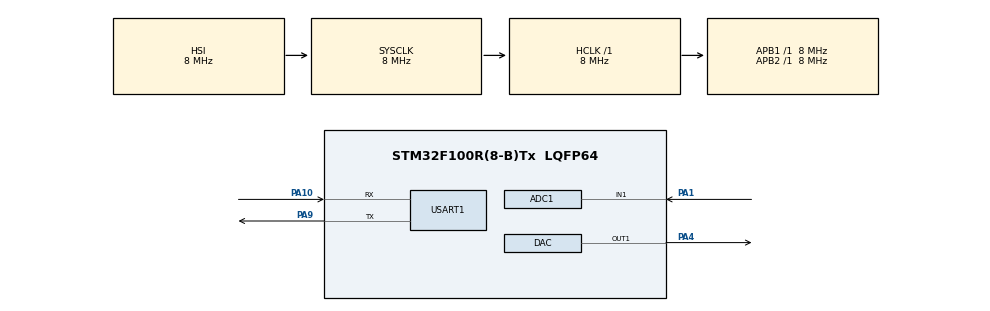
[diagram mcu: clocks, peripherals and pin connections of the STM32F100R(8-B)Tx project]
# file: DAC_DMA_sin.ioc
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ADC1.Channel-1\#ChannelRegularConversion=ADC_CHANNEL_1
ADC1.ContinuousConvMode=ENABLE
ADC1.ExternalTrigConv=ADC_SOFTWARE_START
ADC1.NbrOfConversionFlag=1
ADC1.Rank-1\#ChannelRegularConversion=1
ADC1.SamplingTime-1\#ChannelRegularConversion=ADC_SAMPLETIME_1CYCLE_5
ADC1.master=1
DAC.DAC_Trigger=DAC_TRIGGER_T3_TRGO
Dma.ADC1.1.Direction=DMA_PERIPH_TO_MEMORY
Dma.ADC1.1.Instance=DMA1_Channel1
Dma.ADC1.1.MemDataAlignment=DMA_MDATAALIGN_WORD
Dma.ADC1.1.MemInc=DMA_MINC_ENABLE
Dma.ADC1.1.Mode=DMA_CIRCULAR
Dma.ADC1.1.PeriphDataAlignment=DMA_PDATAALIGN_WORD
Dma.ADC1.1.PeriphInc=DMA_PINC_DISABLE
Dma.ADC1.1.Priority=DMA_PRIORITY_LOW
Dma.DAC_CH1.0.Direction=DMA_MEMORY_TO_PERIPH
Dma.DAC_CH1.0.Instance=DMA1_Channel3
Dma.DAC_CH1.0.MemDataAlignment=DMA_MDATAALIGN_WORD
Dma.DAC_CH1.0.MemInc=DMA_MINC_ENABLE
Dma.DAC_CH1.0.Mode=DMA_CIRCULAR
Dma.DAC_CH1.0.PeriphDataAlignment=DMA_PDATAALIGN_WORD
Dma.DAC_CH1.0.PeriphInc=DMA_PINC_DISABLE
Dma.DAC_CH1.0.Priority=DMA_PRIORITY_LOW
Dma.Request0=DAC_CH1
Dma.Request1=ADC1
Mcu.Family=STM32F1
Mcu.Name=STM32F100R(8-B)Tx
Mcu.Package=LQFP64
NVIC.DMA1_Channel1_IRQn=true\:0\:0\:false\:false\:true\:false\:true
NVIC.DMA1_Channel3_IRQn=true\:0\:0\:false\:false\:true\:false\:true
NVIC.PriorityGroup=NVIC_PRIORITYGROUP_4
PA1.Signal=ADCx_IN1
PA10.Mode=Asynchronous
PA10.Signal=USART1_RX
PA13.Mode=Serial_Wire
PA13.Signal=SYS_JTMS-SWDIO
PA14.Mode=Serial_Wire
PA14.Signal=SYS_JTCK-SWCLK
PA4.Signal=COMP_DAC1_group
PA9.Mode=Asynchronous
PA9.Signal=USART1_TX
PD0-OSC_IN.Mode=HSE-External-Oscillator
PD0-OSC_IN.Signal=RCC_OSC_IN
PD1-OSC_OUT.Mode=HSE-External-Oscillator
PD1-OSC_OUT.Signal=RCC_OSC_OUT
ProjectManager.HeapSize=0x200
ProjectManager.StackSize=0x400
ProjectManager.TargetToolchain=MDK-ARM V5.27
RCC.AHBFreq_Value=8000000
RCC.APB1Freq_Value=8000000
RCC.APB1TimFreq_Value=8000000
RCC.APB2Freq_Value=8000000
RCC.APB2TimFreq_Value=8000000
RCC.HCLKFreq_Value=8000000
RCC.PLLMUL=RCC_PLL_MUL4
RCC.SYSCLKFreq_VALUE=8000000
SH.ADCx_IN1.0=ADC1_IN1,IN1
SH.COMP_DAC1_group.0=DAC_OUT1,DAC_OUT1
TIM3.Period=79
TIM3.TIM_MasterOutputTrigger=TIM_TRGO_UPDATE
USART1.VirtualMode=VM_ASYNC
VP_TIM3_VS_ClockSourceINT.Mode=Internal
board=custom

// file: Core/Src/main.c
/* USER CODE BEGIN Header */
/**
  ******************************************************************************
  * @file           : main.c
  * @brief          : Main program body
  ******************************************************************************
  * @attention
  *
  * <h2><center>&copy; Copyright (c) 2021 STMicroelectronics.
  * All rights reserved.</center></h2>
  *
  * This software component is licensed by ST under BSD 3-Clause license,
  * the "License"; You may not use this file except in compliance with the
  * License. You may obtain a copy of the License at:
  *                        opensource.org/licenses/BSD-3-Clause
  *
  ******************************************************************************
  */
/* USER CODE END Header */
#include "main.h"

/* USER CODE BEGIN Includes */
		#include "math.h"
		#include <stdio.h>
/* USER CODE END Includes */

ADC_HandleTypeDef hadc1;
DMA_HandleTypeDef hdma_adc1;

DAC_HandleTypeDef hdac;
DMA_HandleTypeDef hdma_dac_ch1;

TIM_HandleTypeDef htim3;

UART_HandleTypeDef huart1;

/* USER CODE BEGIN PV */
		uint32_t sine_val[100];
		uint32_t adcValue[1];
		uint32_t buffer[1];
		char sendData[10];
		#define PI 3.1415926
		int flag=0;
/* USER CODE END PV */

void SystemClock_Config(void);
static void MX_GPIO_Init(void);
static void MX_DMA_Init(void);
static void MX_DAC_Init(void);
static void MX_ADC1_Init(void);
static void MX_TIM3_Init(void);
static void MX_USART1_UART_Init(void);

/* USER CODE BEGIN 0 */
	void calcsin(){
		for(int i=0;i<100;i++){
	 	sine_val[i] = ((sin(i*2*PI/100) + 1)*(4096/2));
		}

	}
/* USER CODE END 0 */

int main(void)
{

  /* MCU Configuration--------------------------------------------------------*/

  /* Reset of all peripherals, Initializes the Flash interface and the Systick. */
  HAL_Init();

  /* Configure the system clock */
  SystemClock_Config();

  /* Initialize all configured peripherals */
  MX_GPIO_Init();
  MX_DMA_Init();
  MX_DAC_Init();
  MX_ADC1_Init();
  MX_TIM3_Init();
  MX_USART1_UART_Init();
  /* USER CODE BEGIN 2 */
		HAL_TIM_Base_Start(&htim3);
		calcsin();
		HAL_DAC_Start_DMA(&hdac, DAC1_CHANNEL_1, sine_val, 100, DAC_ALIGN_12B_R);
		HAL_ADC_Start_DMA(&hadc1,(uint32_t *)buffer,sizeof(buffer));

  /* USER CODE END 2 */

  /* Infinite loop */
  while (1)
  {

    /* USER CODE BEGIN 3 */
		if(flag==1){
			sprintf(sendData,"%d \r\n",buffer[0]);
			HAL_UART_Transmit(&huart1,(uint8_t *)sendData,sizeof(sendData),HAL_MAX_DELAY);
			flag=0;
			HAL_ADC_Start_DMA(&hadc1,(uint32_t *)buffer,sizeof(buffer));
		}

  }
  /* USER CODE END 3 */
}

void SystemClock_Config(void)
{
  RCC_OscInitTypeDef RCC_OscInitStruct = {0};
  RCC_ClkInitTypeDef RCC_ClkInitStruct = {0};
  RCC_PeriphCLKInitTypeDef PeriphClkInit = {0};

  /** Initializes the RCC Oscillators according to the specified parameters
  * in the RCC_OscInitTypeDef structure.
  */
  RCC_OscInitStruct.OscillatorType = RCC_OSCILLATORTYPE_HSI;
  RCC_OscInitStruct.HSIState = RCC_HSI_ON;
  RCC_OscInitStruct.HSICalibrationValue = RCC_HSICALIBRATION_DEFAULT;
  RCC_OscInitStruct.PLL.PLLState = RCC_PLL_NONE;
  if (HAL_RCC_OscConfig(&RCC_OscInitStruct) != HAL_OK)
  {
    Error_Handler();
  }
  /** Initializes the CPU, AHB and APB buses clocks
  */
  RCC_ClkInitStruct.ClockType = RCC_CLOCKTYPE_HCLK|RCC_CLOCKTYPE_SYSCLK
                              |RCC_CLOCKTYPE_PCLK1|RCC_CLOCKTYPE_PCLK2;
  RCC_ClkInitStruct.SYSCLKSource = RCC_SYSCLKSOURCE_HSI;
  RCC_ClkInitStruct.AHBCLKDivider = RCC_SYSCLK_DIV1;
  RCC_ClkInitStruct.APB1CLKDivider = RCC_HCLK_DIV1;
  RCC_ClkInitStruct.APB2CLKDivider = RCC_HCLK_DIV1;

  if (HAL_RCC_ClockConfig(&RCC_ClkInitStruct, FLASH_LATENCY_0) != HAL_OK)
  {
    Error_Handler();
  }
  PeriphClkInit.PeriphClockSelection = RCC_PERIPHCLK_ADC;
  PeriphClkInit.AdcClockSelection = RCC_ADCPCLK2_DIV2;
  if (HAL_RCCEx_PeriphCLKConfig(&PeriphClkInit) != HAL_OK)
  {
    Error_Handler();
  }
}

static void MX_ADC1_Init(void)
{

  ADC_ChannelConfTypeDef sConfig = {0};

  /** Common config
  */
  hadc1.Instance = ADC1;
  hadc1.Init.ScanConvMode = ADC_SCAN_DISABLE;
  hadc1.Init.ContinuousConvMode = ENABLE;
  hadc1.Init.DiscontinuousConvMode = DISABLE;
  hadc1.Init.ExternalTrigConv = ADC_SOFTWARE_START;
  hadc1.Init.DataAlign = ADC_DATAALIGN_RIGHT;
  hadc1.Init.NbrOfConversion = 1;
  if (HAL_ADC_Init(&hadc1) != HAL_OK)
  {
    Error_Handler();
  }
  /** Configure Regular Channel
  */
  sConfig.Channel = ADC_CHANNEL_1;
  sConfig.Rank = ADC_REGULAR_RANK_1;
  sConfig.SamplingTime = ADC_SAMPLETIME_1CYCLE_5;
  if (HAL_ADC_ConfigChannel(&hadc1, &sConfig) != HAL_OK)
  {
    Error_Handler();
  }

}

static void MX_DAC_Init(void)
{

  DAC_ChannelConfTypeDef sConfig = {0};

  /** DAC Initialization
  */
  hdac.Instance = DAC;
  if (HAL_DAC_Init(&hdac) != HAL_OK)
  {
    Error_Handler();
  }
  /** DAC channel OUT1 config
  */
  sConfig.DAC_Trigger = DAC_TRIGGER_T3_TRGO;
  sConfig.DAC_OutputBuffer = DAC_OUTPUTBUFFER_ENABLE;
  if (HAL_DAC_ConfigChannel(&hdac, &sConfig, DAC_CHANNEL_1) != HAL_OK)
  {
    Error_Handler();
  }

}

static void MX_TIM3_Init(void)
{

  TIM_ClockConfigTypeDef sClockSourceConfig = {0};
  TIM_MasterConfigTypeDef sMasterConfig = {0};

  htim3.Instance = TIM3;
  htim3.Init.Prescaler = 0;
  htim3.Init.CounterMode = TIM_COUNTERMODE_UP;
  htim3.Init.Period = 79;
  htim3.Init.ClockDivision = TIM_CLOCKDIVISION_DIV1;
  htim3.Init.AutoReloadPreload = TIM_AUTORELOAD_PRELOAD_DISABLE;
  if (HAL_TIM_Base_Init(&htim3) != HAL_OK)
  {
    Error_Handler();
  }
  sClockSourceConfig.ClockSource = TIM_CLOCKSOURCE_INTERNAL;
  if (HAL_TIM_ConfigClockSource(&htim3, &sClockSourceConfig) != HAL_OK)
  {
    Error_Handler();
  }
  sMasterConfig.MasterOutputTrigger = TIM_TRGO_UPDATE;
  sMasterConfig.MasterSlaveMode = TIM_MASTERSLAVEMODE_DISABLE;
  if (HAL_TIMEx_MasterConfigSynchronization(&htim3, &sMasterConfig) != HAL_OK)
  {
    Error_Handler();
  }

}

static void MX_USART1_UART_Init(void)
{

  huart1.Instance = USART1;
  huart1.Init.BaudRate = 115200;
  huart1.Init.WordLength = UART_WORDLENGTH_8B;
  huart1.Init.StopBits = UART_STOPBITS_1;
  huart1.Init.Parity = UART_PARITY_NONE;
  huart1.Init.Mode = UART_MODE_TX_RX;
  huart1.Init.HwFlowCtl = UART_HWCONTROL_NONE;
  huart1.Init.OverSampling = UART_OVERSAMPLING_16;
  if (HAL_UART_Init(&huart1) != HAL_OK)
  {
    Error_Handler();
  }

}

static void MX_DMA_Init(void)
{

  /* DMA controller clock enable */
  __HAL_RCC_DMA1_CLK_ENABLE();

  /* DMA interrupt init */
  /* DMA1_Channel1_IRQn interrupt configuration */
  HAL_NVIC_SetPriority(DMA1_Channel1_IRQn, 0, 0);
  HAL_NVIC_EnableIRQ(DMA1_Channel1_IRQn);
  /* DMA1_Channel3_IRQn interrupt configuration */
  HAL_NVIC_SetPriority(DMA1_Channel3_IRQn, 0, 0);
  HAL_NVIC_EnableIRQ(DMA1_Channel3_IRQn);

}

static void MX_GPIO_Init(void)
{

  /* GPIO Ports Clock Enable */
  __HAL_RCC_GPIOD_CLK_ENABLE();
  __HAL_RCC_GPIOA_CLK_ENABLE();

}

/* USER CODE BEGIN 4 */
void HAL_ADC_ConvCpltCallback(ADC_HandleTypeDef* hadc)
{

//		HAL_ADC_Stop_DMA(&hadc1);
//		flag=1;

}
/* USER CODE END 4 */

void Error_Handler(void)
{
  __disable_irq();
  while (1)
  {
  }
}

/************************ (C) COPYRIGHT STMicroelectronics *****END OF FILE****/
